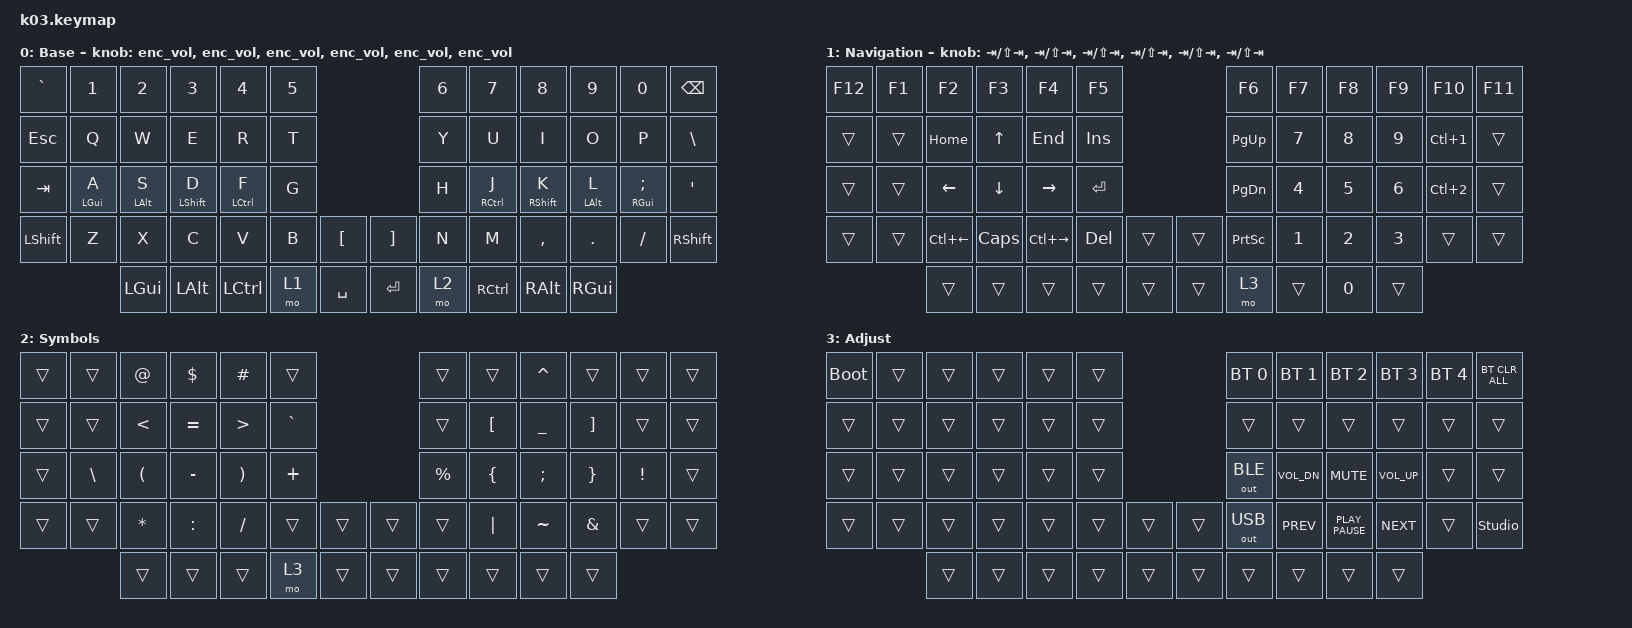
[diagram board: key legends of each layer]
#include "keys_ru.h"
#include <behaviors.dtsi>
#include <dt-bindings/zmk/bt.h>
#include <dt-bindings/zmk/keys.h>
#include <dt-bindings/zmk/outputs.h>

/ {
    behaviors {
        enc_vol: enc_vol {
            compatible = "zmk,behavior-sensor-rotate";
            label = "ENC_VOL";
            #sensor-binding-cells = <0>;
            bindings = <&kp C_VOL_UP>, <&kp C_VOL_DN>;

            tap-ms = <10>;
        };

        hml: home_row_mod_left {
            compatible = "zmk,behavior-hold-tap";
            bindings = <&kp>, <&kp>;

            #binding-cells = <2>;
            tapping-term-ms = <280>;
            quick-tap-ms = <175>;
            require-prior-idle-ms = <70>;
            flavor = "balanced";
            hold-trigger-key-positions = <6 7 8 9 10 11 18 19 20 21 22 23 30 31 32 33 34 35 44 45 46 47 48 49 56 57 58 59 43 55>;
            hold-trigger-on-release;
        };

        hmr: home_row_mod_right {
            compatible = "zmk,behavior-hold-tap";
            bindings = <&kp>, <&kp>;

            #binding-cells = <2>;
            tapping-term-ms = <280>;
            quick-tap-ms = <175>;
            require-prior-idle-ms = <70>;
            flavor = "balanced";
            hold-trigger-key-positions = <0 1 2 3 4 5 12 13 14 15 16 17 24 25 26 27 28 29 36 37 38 39 40 41 42 50 51 52 53 54>;
            hold-trigger-on-release;
        };

        caps_word: caps_word {
            compatible = "zmk,behavior-caps-word";
            label = "CAPS_WORD";
            #binding-cells = <0>;
            continue-list = <UNDERSCORE MINUS>;
        };
    };

    combos {
        compatible = "zmk,combos";

        del {
            bindings = <&kp DELETE>;
            key-positions = <10 11>;
        };

        dog {
            timeout-ms = <20>;
            bindings = <&kp AT_SIGN>;
            key-positions = <1 2>;
        };

        hash {
            timeout-ms = <20>;
            bindings = <&kp POUND>;
            key-positions = <2 3>;
        };

        equal {
            bindings = <&kp EQUAL>;
            key-positions = <10 22>;
        };

        num_ru {
            bindings = <&runumero>;
            key-positions = <14 2>;
        };

        oninit {
            bindings = <&func_template>;
            key-positions = <20 21 52>;
        };

        caps_word {
            bindings = <&caps_word>;
            key-positions = <27 32>;
        };
    };

    macros {
        runumero: runumero {
            compatible = "zmk,behavior-macro";
            #binding-cells = <0>;
            bindings = <&kp RU_NUMERO>;
            label = "RUNUMERO";
        };

        func_template: func_template {
            compatible = "zmk,behavior-macro";
            #binding-cells = <0>;
            tap-ms = <10>;
            bindings =
                <&kp LC(NUMBER_2) &kp A &kp S &kp Y &kp N &kp C &kp SPACE &kp F &kp U &kp N &kp C &kp T &kp I &kp O &kp N &kp SPACE &kp O &kp N &kp LS(I) &kp N &kp I &kp T &kp LPAR &kp RPAR &kp COLON &kp SPACE>,
                <&macro_wait_time 10>,
                <&kp LS(P) &kp R &kp O &kp M &kp I &kp S &kp E>,
                <&macro_wait_time 10>,
                <&kp LT &kp V &kp O &kp I &kp D &kp GT &kp SPACE>,
                <&macro_wait_time 10>,
                <&kp LBRC &kp RBRC &kp LEFT &kp ENTER &kp LEFT &kt LCTRL &kp LEFT &kp LEFT &kp LEFT &kp LEFT &kp LEFT &kt LEFT_SHIFT &kp LEFT &kt LCTRL &kt LSHFT>;

            label = "FUNC_TEMPLATE";
        };

        ai_prompt: ai_prompt {
            compatible = "zmk,behavior-macro";
            #binding-cells = <0>;
            bindings = <&none>;
            label = "AI_PROMPT";
        };
    };

    keymap {
        compatible = "zmk,keymap";

        base {
            bindings = <
&kp GRAVE  &kp N1       &kp N2       &kp N3        &kp N4        &kp N5                          &kp N6  &kp N7        &kp N8        &kp N9       &kp N0          &kp BSPC
&kp ESC    &kp Q        &kp W        &kp E         &kp R         &kp T                           &kp Y   &kp U         &kp I         &kp O        &kp P           &kp BSLH
&kp TAB    &hml LGUI A  &hml LALT S  &hml LSHFT D  &hml LCTRL F  &kp G                           &kp H   &hmr RCTRL J  &hmr RSHFT K  &hmr LALT L  &hmr RGUI SEMI  &kp SQT
&kp LSHFT  &kp Z        &kp X        &kp C         &kp V         &kp B   &kp LBKT     &kp RBKT   &kp N   &kp M         &kp COMMA     &kp DOT      &kp FSLH        &kp RSHFT
                        &kp LGUI     &kp LALT      &kp LCTRL     &mo 1   &kp SPACE    &kp ENTER  &mo 2   &kp RCTRL     &kp RALT      &kp RGUI
            >;

            display-name = "Base";
            sensor-bindings =
                <&enc_vol>,
                <&enc_vol>,
                <&enc_vol>,
                <&enc_vol>,
                <&enc_vol>,
                <&enc_vol>;
        };

        nav {
            bindings = <
&kp F12  &kp F1  &kp F2        &kp F3    &kp F4         &kp F5                     &kp F6           &kp F7  &kp F8  &kp F9  &kp F10     &kp F11
&trans   &trans  &kp HOME      &kp UP    &kp END        &kp INS                    &kp PG_UP        &kp N7  &kp N8  &kp N9  &kp LC(N1)  &trans
&trans   &trans  &kp LEFT      &kp DOWN  &kp RIGHT      &kp RET                    &kp PG_DN        &kp N4  &kp N5  &kp N6  &kp LC(N2)  &trans
&trans   &trans  &kp LC(LEFT)  &kp CAPS  &kp LC(RIGHT)  &kp DEL  &trans    &trans  &kp PRINTSCREEN  &kp N1  &kp N2  &kp N3  &trans      &trans
                 &trans        &trans    &trans         &trans   &trans    &trans  &mo 3            &trans  &kp N0  &trans
            >;

            display-name = "Navigation";
            sensor-bindings =
                <&inc_dec_kp TAB LS(TAB)>,
                <&inc_dec_kp TAB LS(TAB)>,
                <&inc_dec_kp TAB LS(TAB)>,
                <&inc_dec_kp TAB LS(TAB)>,
                <&inc_dec_kp TAB LS(TAB)>,
                <&inc_dec_kp TAB LS(TAB)>;
        };

        sym {
            bindings = <
&trans  &trans    &kp AT    &kp DLLR   &kp HASH  &trans                       &trans     &trans    &kp CARET  &trans    &trans    &trans
&trans  &trans    &kp LT    &kp EQUAL  &kp GT    &kp GRAVE                    &trans     &kp LBKT  &kp UNDER  &kp RBKT  &trans    &trans
&trans  &kp BSLH  &kp LPAR  &kp MINUS  &kp RPAR  &kp PLUS                     &kp PRCNT  &kp LBRC  &kp SEMI   &kp RBRC  &kp EXCL  &trans
&trans  &trans    &kp STAR  &kp COLON  &kp FSLH  &trans     &trans    &trans  &trans     &kp PIPE  &kp TILDE  &kp AMPS  &trans    &trans
                  &trans    &trans     &trans    &mo 3      &trans    &trans  &trans     &trans    &trans     &trans
            >;

            display-name = "Symbols";
        };

        adj {
            bindings = <
&bootloader  &trans  &trans  &trans  &trans  &trans                    &bt BT_SEL 0  &bt BT_SEL 1  &bt BT_SEL 2      &bt BT_SEL 3  &bt BT_SEL 4  &bt BT_CLR_ALL
&trans       &trans  &trans  &trans  &trans  &trans                    &trans        &trans        &trans            &trans        &trans        &trans
&trans       &trans  &trans  &trans  &trans  &trans                    &out OUT_BLE  &kp C_VOL_DN  &kp K_MUTE        &kp C_VOL_UP  &trans        &trans
&trans       &trans  &trans  &trans  &trans  &trans  &trans    &trans  &out OUT_USB  &kp K_PREV    &kp K_PLAY_PAUSE  &kp K_NEXT    &trans        &studio_unlock
                     &trans  &trans  &trans  &trans  &trans    &trans  &trans        &trans        &trans            &trans
            >;

            display-name = "Adjust";
        };
    };
};
